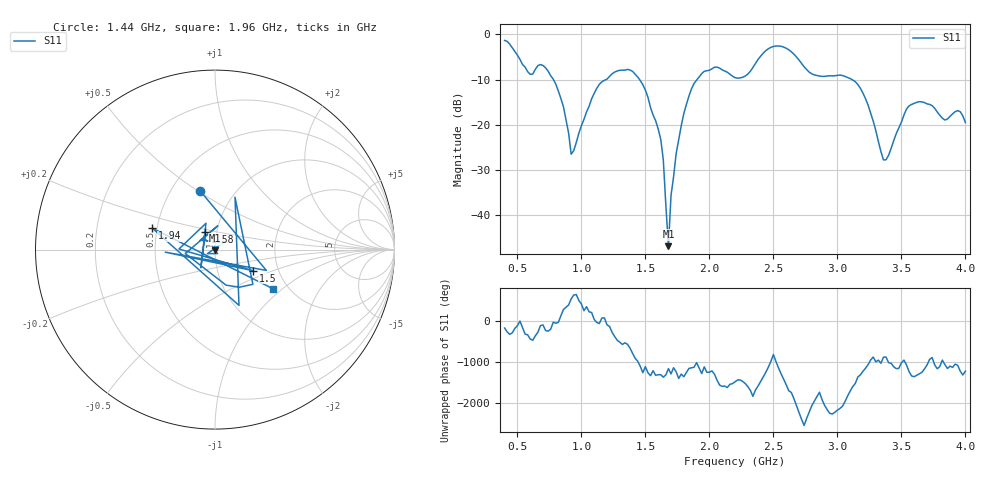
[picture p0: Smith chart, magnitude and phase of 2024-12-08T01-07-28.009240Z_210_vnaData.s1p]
!Created with skrf (http://scikit-rf.org).
# Hz S RI R 50.0
!freq ReS11 ImS11
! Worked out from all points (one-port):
!   181 points, 400 MHz to 4 GHz, reference 50 ohm
!   lowest |S11| = -46.9 dB at 1.68 GHz (marker M1), VSWR 1.01, Z = 50.1 - j0.442 ohm
!   |S11| at or under -10 dB: 782 MHz to 1.192 GHz (410 MHz wide, 41.5 % of centre); 1.455 GHz to 1.903 GHz (448.5 MHz wide, 26.7 % of centre); 3.115 GHz to end of sweep
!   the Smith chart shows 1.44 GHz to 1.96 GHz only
!   S11 on the Smith chart (normalised r, x): 1.44 GHz: 0.69, +0.51; 1.5 GHz: 1.48, -0.37; 1.58 GHz: 0.88, +0.17; 1.94 GHz: 0.47, +0.13; 1.96 GHz: 1.68, -0.86
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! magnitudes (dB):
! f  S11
! 400 MHz  -1.3
! 600 MHz  -8.8
! 720 MHz  -7.4
! 860 MHz  -16.0
! 920 MHz  -26.5
! 1.12 GHz  -11.9
! 1.3 GHz  -7.9
! 1.44 GHz  -9.4
! 1.5 GHz  -12.3
! 1.58 GHz  -19.1
! 1.64 GHz  -27.8
! 1.68 GHz  -46.9
! 1.7 GHz  -35.7
! 1.76 GHz  -23.3
! 1.84 GHz  -13.7
! 1.94 GHz  -8.7
! 1.96 GHz  -8.2
! 2.2 GHz  -9.6
! 2.48 GHz  -2.9
! 2.66 GHz  -4.4
! 2.8 GHz  -8.7
! 3.1 GHz  -9.8
! 3.22 GHz  -14.2
! 3.36 GHz  -27.8
! 3.56 GHz  -15.8
! 3.84 GHz  -19.0
! 3.94 GHz  -16.9
! 4 GHz  -19.5
